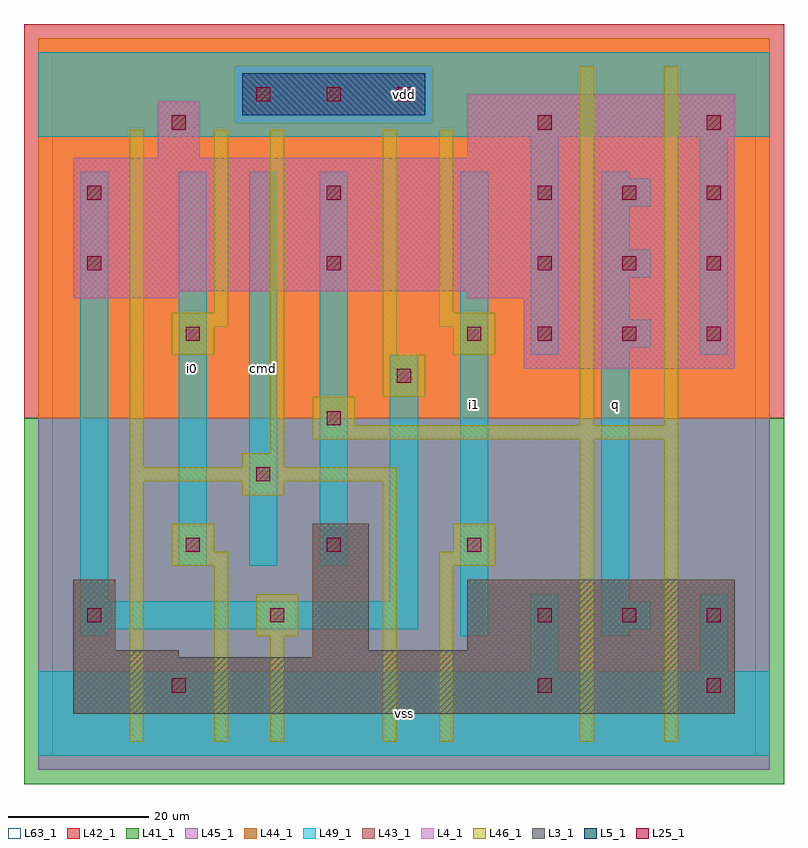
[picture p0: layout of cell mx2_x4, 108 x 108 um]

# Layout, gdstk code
import gdstk
lib = gdstk.Library(unit=1e-6, precision=1e-09)
def R(c, l, rs):  # rectangles x0, y0, x1, y1
    for r in rs: c.add(gdstk.rectangle(r[:2], r[2:], *l))
def A(c, l, x, y, w, h, nx, ny, dx, dy):  # array of equal rectangles
    R(c, l, [(x+i*dx, y+j*dy, x+i*dx+w, y+j*dy+h) for i in range(nx) for j in range(ny)])
L3_1 = (3, 1)
L4_1 = (4, 1)
L5_1 = (5, 1)
L25_1 = (25, 1)
L41_1 = (41, 1)
L42_1 = (42, 1)
L43_1 = (43, 1)
L44_1 = (44, 1)
L45_1 = (45, 1)
L46_1 = (46, 1)
L49_1 = (49, 1)
L63_1 = (63, 1)

mx2_x4 = lib.new_cell('mx2_x4')
R(mx2_x4, L3_1, [(3,6,97,14), (3,14,18,15), (37,14,97,15), (3,15,9,25), (37,15,45,33), (59,15,97,25)])
R(mx2_x4, L4_1, [(67,55,97,65), (3,65,18,66), (59,65,97,66), (3,66,97,85), (15,85,21,93), (59,85,97,94)])
R(mx2_x4, L5_1, [(27,91,53,97)])
A(mx2_x4, L25_1, 69, 19, 2, 2, 3, 2, 12, 40)
A(mx2_x4, L25_1, 19, 29, 2, 2, 3, 1, 20, 0)
A(mx2_x4, L25_1, 69, 69, 2, 2, 3, 2, 12, 10)
A(mx2_x4, L25_1, 29, 93, 2, 2, 3, 1, 10, 0)
R(mx2_x4, L25_1, [(17,9,19,11), (69,9,71,11), (93,9,95,11), (5,19,7,21), (31,19,33,21), (29,39,31,41), (39,47,41,49), (49,53,51,55), (19,59,21,61), (59,59,61,61), (5,69,7,71), (39,69,41,71), (5,79,7,81), (39,79,41,81), (17,89,19,91), (69,89,71,91), (93,89,95,91)])
R(mx2_x4, L41_1, [(-4,-4,104,48)])
R(mx2_x4, L42_1, [(-4,48,104,104)])
R(mx2_x4, L43_1, [(3,6,97,14), (3,14,18,15), (37,14,97,15), (3,15,9,25), (37,15,45,33), (59,15,97,25), (67,55,97,65), (3,65,18,66), (59,65,97,66), (3,66,97,85), (15,85,21,93), (59,85,97,94), (27,91,53,97)])
R(mx2_x4, L44_1, [(-2,48,102,90), (-2,90,26,98), (54,90,102,98), (-2,98,102,102)])
R(mx2_x4, L45_1, [(-2,-2,102,48), (26,90,54,98)])
R(mx2_x4, L46_1, [(11,2,13,39), (23,2,25,27), (31,2,33,17), (47,2,49,39), (55,2,57,27), (75,2,77,45), (87,2,89,45), (29,17,35,23), (17,27,25,29), (55,27,63,29), (17,29,23,33), (57,29,63,33), (27,37,33,39), (11,39,49,41), (11,41,13,89), (27,41,33,43), (31,43,33,89), (37,45,89,47), (37,47,43,51), (75,47,77,98), (87,47,89,98), (47,51,53,57), (17,57,23,61), (47,57,49,89), (57,57,63,61), (17,61,25,63), (55,61,63,63), (23,63,25,89), (55,63,57,89)])
A(mx2_x4, L49_1, 18, 27, 4, 56, 3, 1, 10, 0)
A(mx2_x4, L49_1, 78, 58, 7, 4, 1, 3, 0, 10)
R(mx2_x4, L49_1, [(-2,0,102,12), (68,12,72,23), (92,12,96,23), (4,17,8,18), (58,17,62,83), (78,17,82,18), (4,18,52,22), (78,18,85,22), (4,22,8,83), (48,22,52,57), (78,22,82,58), (68,57,72,88), (92,57,96,88), (78,62,82,68), (78,72,82,78), (78,82,82,83), (-2,88,102,100)])
R(mx2_x4, L63_1, [(0,0,100,100)])
mx2_x4.add(gdstk.Label('i0', (20,55), layer=49, texttype=1))
mx2_x4.add(gdstk.Label('cmd', (30,55), layer=49, texttype=1))
mx2_x4.add(gdstk.Label('vss', (50,6), layer=49, texttype=1))
mx2_x4.add(gdstk.Label('vdd', (50,94), layer=49, texttype=1))
mx2_x4.add(gdstk.Label('i1', (60,50), layer=49, texttype=1))
mx2_x4.add(gdstk.Label('q', (80,50), layer=49, texttype=1))

lib.write_gds('mx2_x4.gds')
